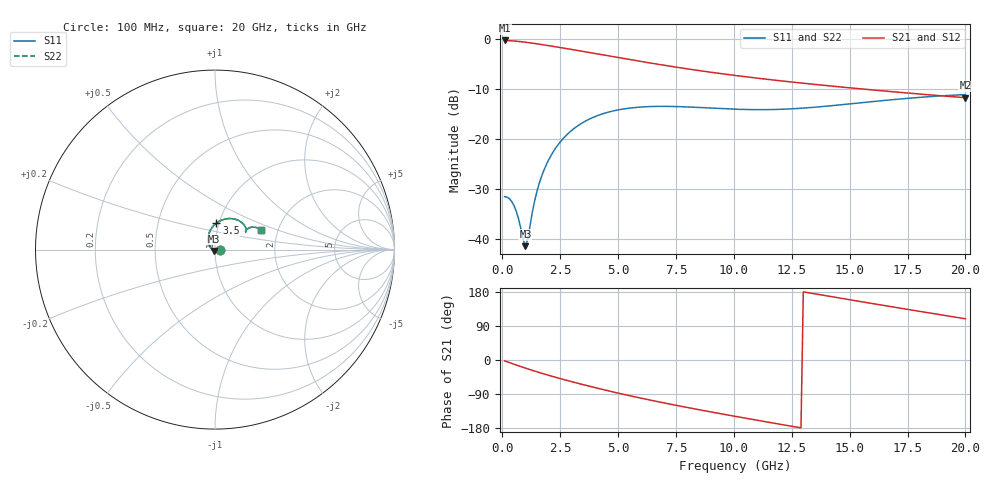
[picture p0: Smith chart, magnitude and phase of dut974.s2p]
! Touchstone file exported from HFSS 2024.1.0
!  File:  C:/UserFiles/LocalFiles/RDL_TSV_Batchsim/temp_RDL_TSV_974_1779971875.aedt
!  Generated:  08:53:25 PM May 28, 2026
!  Design:  RDL_TSV
!  Project:  temp_RDL_TSV_974_1779971875
!  Setup:  Setup1
!  Solution:  Sweep
! Variables:
!  dtsv = 14.01um
!  hbump = 3um
!  htsv = 84.82um
!  ldown = 626.53um
!  lrdl = 371.45um
!  p = 40
!  p1 = 44.38um
!  rhole = 10um
!  subl = 3365.39um
!  t = 450um
!  tdown = 2.57um
!  trdl = 3.4um
!  viad = 10um
!  wdown = 12.01um
!  wrdl = 28.3um
!  xbump = 18um
# GHz S MA R 50.000000
! Terminal data exported
! Port[1] = TM1_1_T1
! Port[2] = TM1_4_T1
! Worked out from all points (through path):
!   200 points, 100 MHz to 20 GHz, reference 50 ohm
!   highest |S21| = -0.24 dB at 100 MHz (marker M1); lowest = -11.7 dB at 20 GHz (marker M2)
!   group delay of S21, straight-line fit = 33 ps
!   lowest |S11| = -41.5 dB at 1 GHz (marker M3), VSWR 1.02, Z = 49.6 - j0.756 ohm
!   |S11| at or under -10 dB: start of sweep to end of sweep
!   |S22| runs from -41.5 to -11.1 dB; largest |S21 - S12| = 7.4e-15
!   S11 on the Smith chart (normalised r, x): 100 MHz: 1.05, -0.00; 3.5 GHz: 0.97, +0.29; 20 GHz: 1.64, +0.38
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0.1  0.02648 -3.9  0.9727 -2.3  0.9727 -2.3  0.02648 -3.9
! Gamma 0 0 0 0
! Port Impedance 50 0 50 0
0.3  0.02529 -13.7  0.9681 -6.7  0.9681 -6.7  0.02529 -13.7
0.5  0.02165 -26.8  0.9609 -11.1  0.9609 -11.1  0.02164 -26.8
0.7  0.0159 -45.1  0.9515 -15.3  0.9515 -15.3  0.0159 -45.1
0.9  0.009772 -81.2  0.9404 -19.5  0.9404 -19.5  0.00978 -81.3
1  0.008429 -115.4  0.9342 -21.5  0.9342 -21.5  0.008447 -115.5
1.1  0.009909 -151.3  0.9278 -23.5  0.9278 -23.5  0.009937 -151.3
1.3  0.0186 169.9  0.9142 -27.4  0.9142 -27.4  0.01864 169.9
1.5  0.03002 152.2  0.9 -31.2  0.9 -31.2  0.03007 152.3
1.7  0.04242 140.8  0.8853 -35.0  0.8853 -35.0  0.04247 140.8
1.9  0.05522 131.9  0.8705 -38.6  0.8705 -38.6  0.05529 131.9
2.2  0.07451 120.9  0.8482 -43.9  0.8482 -43.9  0.07461 120.9
2.6  0.09934 108.7  0.8188 -50.7  0.8188 -50.7  0.09947 108.8
3.5  0.1471 87.1  0.7548 -65.2  0.7548 -65.2  0.1474 87.2
4.9  0.1937 63.1  0.6627 -85.9  0.6627 -85.9  0.194 63.2
6.8  0.2125 42.5  0.5577 -111.0  0.5577 -111.0  0.213 42.6
8.4  0.2076 33.3  0.4889 -130.1  0.4889 -130.1  0.2081 33.4
10.1  0.1989 29.9  0.4323 -149.2  0.4323 -149.2  0.1995 30.0
11.7  0.1976 30.5  0.3905 -166.4  0.3905 -166.4  0.1982 30.6
13.4  0.2074 32.2  0.3544 175.6  0.3544 175.6  0.2081 32.3
16.7  0.2462 30.5  0.3 141.7  0.3 141.7  0.247 30.6
20  0.2789 22.9  0.2594 108.8  0.2594 108.8  0.2798 23.0
